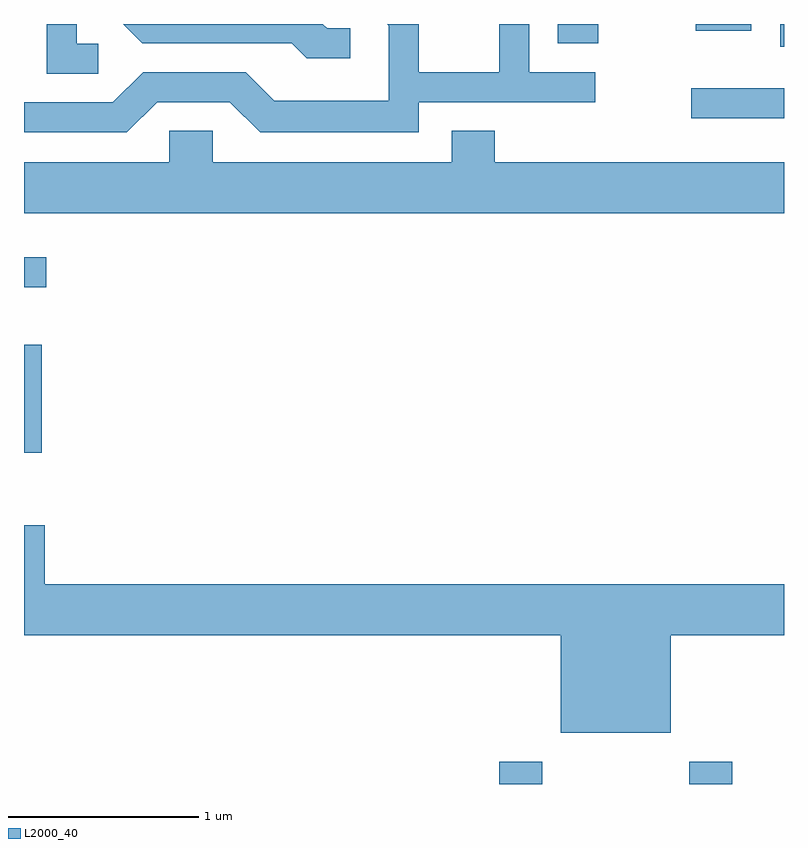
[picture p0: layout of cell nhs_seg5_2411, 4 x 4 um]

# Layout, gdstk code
import gdstk
lib = gdstk.Library(unit=1e-6, precision=1e-09)
def R(c, l, rs):  # rectangles x0, y0, x1, y1
    for r in rs: c.add(gdstk.rectangle(r[:2], r[2:], *l))
def P(c, l, *ps):  # polygons
    for p in ps: c.add(gdstk.Polygon(p, *l))
L2000_40 = (2000, 40)

nhs_seg5_2411 = lib.new_cell('nhs_seg5_2411')
R(nhs_seg5_2411, L2000_40, [(260.111,1396.072,260.339,1396.189), (261.111,1396.072,261.339,1396.189), (257.611,1397.816,257.704,1398.384), (257.611,1398.686,257.728,1398.844), (261.123,1399.576,261.611,1399.734), (261.591,1399.951,261.611,1400.072), (260.421,1399.971,260.634,1400.072), (261.146,1400.036,261.439,1400.072)])
P(nhs_seg5_2411, L2000_40, [(259.328,1400.049),(259.207,1400.049),(259.184,1400.072),(258.133,1400.072),(258.234,1399.971),(259.019,1399.971),(259.099,1399.891),(259.328,1399.891)],
  [(258.003,1399.969),(257.889,1399.969),(257.889,1400.072),(257.731,1400.072),(257.731,1399.811),(258.003,1399.811)],
  [(258.312,1399.661),(258.694,1399.661),(258.854,1399.501),(259.689,1399.501),(259.689,1399.661),(260.618,1399.661),(260.618,1399.819),(260.269,1399.819),(260.269,1400.072),(260.111,1400.072),(260.111,1399.819),(259.689,1399.819),(259.689,1400.072),(259.523,1400.072),(259.531,1400.064),(259.531,1399.669),(258.927,1399.669),(258.777,1399.819),(258.239,1399.819),(258.079,1399.659),(257.611,1399.659),(257.611,1399.501),(258.152,1399.501)],
  [(261.611,1399.344),(260.089,1399.344),(260.089,1399.509),(259.861,1399.509),(259.861,1399.344),(258.604,1399.344),(258.604,1399.509),(258.376,1399.509),(258.376,1399.344),(257.611,1399.344),(257.611,1399.076),(261.611,1399.076)],
  [(261.014,1396.856),(261.611,1396.856),(261.611,1397.124),(257.719,1397.124),(257.719,1397.434),(257.611,1397.434),(257.611,1396.856),(260.436,1396.856),(260.436,1396.341),(261.014,1396.341)])

lib.write_gds('nhs_seg5_2411.gds')
